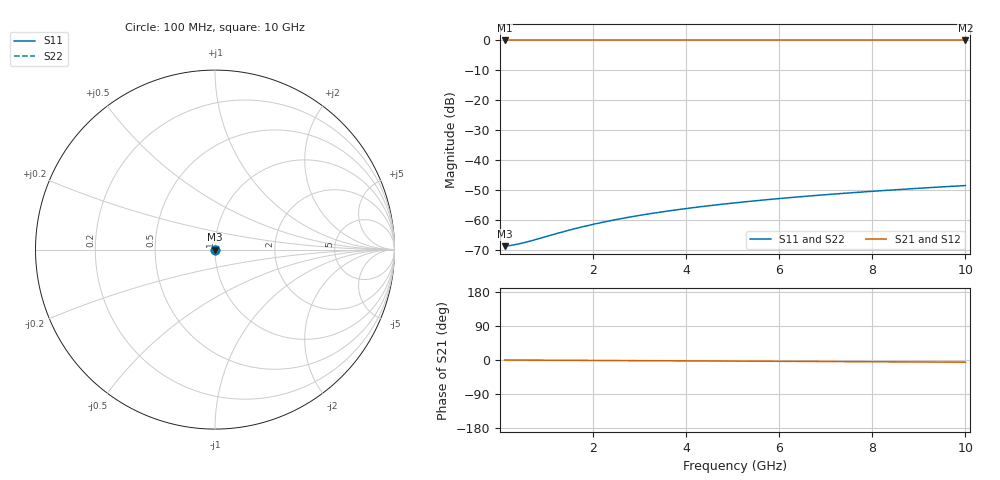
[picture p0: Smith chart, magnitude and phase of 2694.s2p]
# Hz S RI R 50.00
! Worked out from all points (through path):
!   100 points, 100 MHz to 10 GHz, reference 50 ohm
!   highest |S21| = 0.00 dB at 100 MHz (marker M1); lowest = 0.0 dB at 10 GHz (marker M2)
!   lowest |S11| = -68.8 dB at 100 MHz (marker M3), VSWR 1.00, Z = 50 + j0.00377 ohm
!   |S11| at or under -10 dB: start of sweep to end of sweep
!   |S22| runs from -68.8 to -48.5 dB; largest |S21 - S12| = 0
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1e8  0.000363 3.77e-05  0.9996 -0.000995  0.9996 -0.000995  0.000363 3.77e-05
2e8  0.000365 7.53e-05  0.9996 -0.00199  0.9996 -0.00199  0.000365 7.53e-05
3e8  0.000367 0.000113  0.9996 -0.00298  0.9996 -0.00298  0.000367 0.000113
4e8  0.000368 0.000151  0.9996 -0.00398  0.9996 -0.00398  0.000368 0.000151
5e8  0.000369 0.000188  0.9996 -0.00497  0.9996 -0.00497  0.000369 0.000188
7e8  0.000371 0.000263  0.9996 -0.00696  0.9996 -0.00696  0.000371 0.000263
1.4e9  0.000379 0.000526  0.9995 -0.0139  0.9995 -0.0139  0.000379 0.000526
1.8e9  0.000385 0.000675  0.9994 -0.0179  0.9994 -0.0179  0.000385 0.000675
2.2e9  0.000391 0.000824  0.9994 -0.0219  0.9994 -0.0219  0.000391 0.000824
2.6e9  0.000399 0.000973  0.9993 -0.0259  0.9993 -0.0259  0.000399 0.000973
3e9  0.000407 0.00112  0.9992 -0.0299  0.9992 -0.0299  0.000407 0.00112
3.4e9  0.000417 0.00127  0.999 -0.0338  0.999 -0.0338  0.000417 0.00127
3.8e9  0.000428 0.00142  0.9989 -0.0378  0.9989 -0.0378  0.000428 0.00142
4.2e9  0.000439 0.00156  0.9987 -0.0418  0.9987 -0.0418  0.000439 0.00156
4.6e9  0.000453 0.00171  0.9985 -0.0458  0.9985 -0.0458  0.000453 0.00171
5.1e9  0.00047 0.00189  0.9983 -0.0508  0.9983 -0.0508  0.00047 0.00189
5.9e9  0.000503 0.00219  0.9978 -0.0588  0.9978 -0.0588  0.000503 0.00219
6.7e9  0.00054 0.00248  0.9973 -0.0668  0.9973 -0.0668  0.00054 0.00248
7.5e9  0.000582 0.00277  0.9967 -0.0748  0.9967 -0.0748  0.000582 0.00277
8.4e9  0.000635 0.0031  0.996 -0.0838  0.996 -0.0838  0.000635 0.0031
9.2e9  0.000687 0.00339  0.9953 -0.0918  0.9953 -0.0918  0.000687 0.00339
1e10  0.000745 0.00368  0.9945 -0.0999  0.9945 -0.0999  0.000745 0.00368
